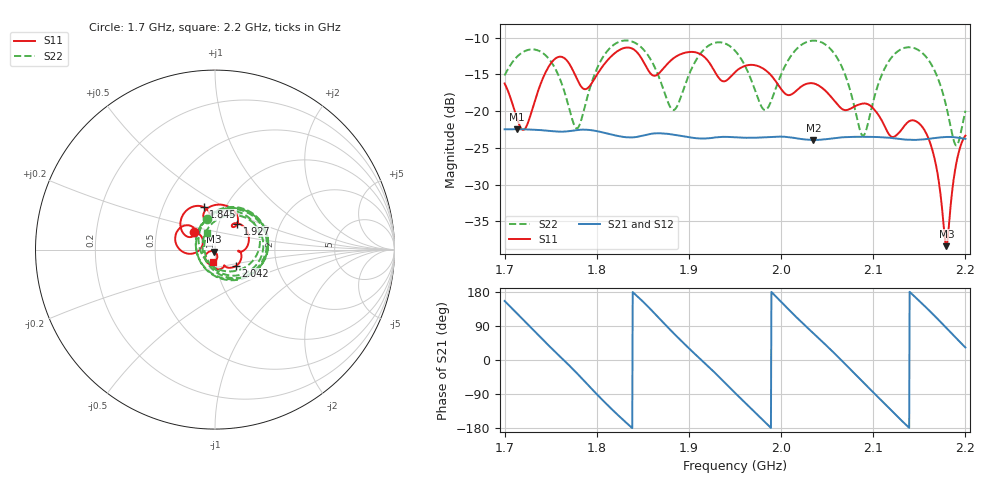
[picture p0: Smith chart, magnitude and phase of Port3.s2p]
# Hz S RI R 50
! CMT, CMT808U, 21440046, 21.4.3/4
! Date: 4/9/2026 1:42:30 AM
! Data: Format (Calibration Info)
! Freq	S11:Re/Im(F2)	S41:Re/Im(F2)	S14:Re/Im(F2)	S44:Re/Im(F2)
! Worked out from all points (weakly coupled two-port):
!   1001 points, 1.7 GHz to 2.2 GHz, reference 50 ohm
!   highest |S21| = -22.47 dB at 1.714 GHz (marker M1); lowest = -23.9 dB at 2.035 GHz (marker M2)
!   lowest |S11| = -38.4 dB at 2.179 GHz (marker M3), VSWR 1.02, Z = 49.6 - j1.11 ohm
!   |S11| at or under -10 dB: start of sweep to end of sweep
!   |S22| runs from -24.7 to -10.4 dB; largest |S21 - S12| = 0.001
!   S11 on the Smith chart (normalised r, x): 1.7 GHz: 0.77, +0.15; 1.845 GHz: 0.79, +0.40; 1.927 GHz: 1.22, +0.37; 2.042 GHz: 1.24, -0.23; 2.2 GHz: 0.97, -0.13
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1.7e9  -0.1196 0.0972  -0.0685 0.0309  -0.0686 0.0299  -0.0429 0.1694
1.7135e9  -0.0689 0.056  -0.0407 0.0633  -0.0413 0.0626  0.0861 0.218
1.757e9  -0.2217 0.0676  0.0696 0.0205  0.069 0.0213  0.1475 -0.1086
1.7835e9  -0.1097 0.0959  0.0502 -0.0553  0.0508 -0.0544  -0.0872 0.0142
1.813e9  -0.1908 0.1223  -0.0371 -0.0593  -0.0362 -0.0596  0.1145 0.2369
1.845e9  -0.0639 0.2375  -0.065 0.0163  -0.0649 0.0154  0.278 -0.0505
1.867e9  -0.0568 0.1704  -0.0264 0.0655  -0.0271 0.065  0.0496 -0.166
1.8845e9  -0.0453 0.2273  0.0259 0.0639  0.025 0.064  -0.1015 -0.0127
1.927e9  0.1244 0.1444  0.0566 -0.0338  0.0569 -0.033  0.2472 0.1521
1.95e9  0.1107 0.1469  0.00371 -0.0661  0.00462 -0.0659  0.237 -0.1009
1.983e9  0.1865 0.0369  -0.064 -0.0174  -0.0636 -0.0182  -0.0973 -0.0296
2.0095e9  0.1284 -0.00657  -0.0428 0.0507  -0.0434 0.05  0.0471 0.2264
2.0335e9  0.1403 -0.0655  0.0175 0.0611  0.0166 0.0613  0.2804 0.1103
2.035e9  0.1371 -0.0711  0.021 0.06  0.0202 0.0602  0.2866 0.0943
2.042e9  0.1157 -0.0915  0.0368 0.0521  0.0361 0.0526  0.2965 0.0159
2.066e9  0.0525 -0.0892  0.0661 -0.00235  0.0661 -0.00148  0.1209 -0.1589
2.0885e9  0.0334 -0.1074  0.0362 -0.0562  0.0369 -0.0556  -0.0658 -0.0172
2.117e9  -0.0136 -0.0682  -0.0395 -0.0527  -0.0388 -0.0531  0.1045 0.1923
2.1565e9  -0.0538 -0.0485  -0.0498 0.0407  -0.0503 0.04  0.2143 -0.1018
2.1795e9  -0.00427 -0.0112  0.0065 0.0663  0.00554 0.0663  -0.00356 -0.106
2.19e9  0.0128 -0.0418  0.0353 0.056  0.0345 0.0564  -0.0572 -0.0116
2.2e9  -0.0105 -0.0671  0.0542 0.0353  0.0536 0.036  -0.042 0.0913
